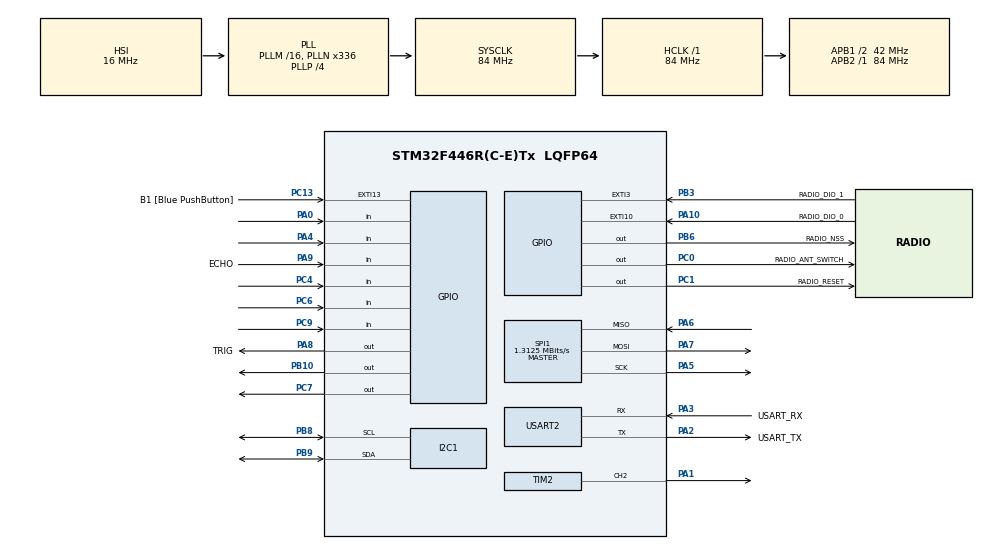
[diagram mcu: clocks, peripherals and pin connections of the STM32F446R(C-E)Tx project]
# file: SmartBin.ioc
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Mcu.Family=STM32F4
Mcu.Name=STM32F446R(C-E)Tx
Mcu.Package=LQFP64
NVIC.EXTI15_10_IRQn=true\:0\:0\:false\:false\:true\:true\:true\:true
NVIC.EXTI3_IRQn=true\:0\:0\:false\:false\:true\:true\:true\:true
NVIC.PriorityGroup=NVIC_PRIORITYGROUP_0
NVIC.TIM2_IRQn=true\:0\:0\:false\:false\:true\:true\:true\:true
NVIC.TIM3_IRQn=true\:0\:0\:false\:false\:true\:true\:true\:true
PA0-WKUP.GPIO_PuPd=GPIO_PULLUP
PA0-WKUP.Signal=GPIO_Input
PA1.Signal=S_TIM2_CH2
PA10.GPIO_Label=RADIO_DIO_0
PA10.Signal=GPXTI10
PA13.GPIO_Label=TMS
PA13.Mode=Serial_Wire
PA13.Signal=SYS_JTMS-SWDIO
PA14.GPIO_Label=TCK
PA14.Mode=Serial_Wire
PA14.Signal=SYS_JTCK-SWCLK
PA2.GPIO_Label=USART_TX
PA2.Mode=Asynchronous
PA2.Signal=USART2_TX
PA3.GPIO_Label=USART_RX
PA3.Mode=Asynchronous
PA3.Signal=USART2_RX
PA4.GPIO_PuPd=GPIO_PULLUP
PA4.Signal=GPIO_Input
PA5.Mode=Full_Duplex_Master
PA5.Signal=SPI1_SCK
PA6.Mode=Full_Duplex_Master
PA6.Signal=SPI1_MISO
PA7.Mode=Full_Duplex_Master
PA7.Signal=SPI1_MOSI
PA8.GPIO_Label=TRIG
PA8.GPIO_Speed=GPIO_SPEED_FREQ_HIGH
PA8.Signal=GPIO_Output
PA9.GPIO_Label=ECHO
PA9.GPIO_PuPd=GPIO_PULLDOWN
PA9.Signal=GPIO_Input
PB10.Signal=GPIO_Output
PB3.GPIO_Label=RADIO_DIO_1
PB3.Signal=GPXTI3
PB6.GPIO_Label=RADIO_NSS
PB6.GPIO_Speed=GPIO_SPEED_FREQ_HIGH
PB6.PinState=GPIO_PIN_SET
PB6.Signal=GPIO_Output
PB8.Mode=I2C
PB8.Signal=I2C1_SCL
PB9.Mode=I2C
PB9.Signal=I2C1_SDA
PC0.GPIO_Label=RADIO_ANT_SWITCH
PC0.GPIO_PuPd=GPIO_PULLUP
PC0.Signal=GPIO_Output
PC1.GPIO_Label=RADIO_RESET
PC1.PinState=GPIO_PIN_SET
PC1.Signal=GPIO_Output
PC13.GPIO_Label=B1 [Blue PushButton]
PC13.GPIO_ModeDefaultEXTI=GPIO_MODE_IT_FALLING
PC13.Signal=GPXTI13
PC14-OSC32_IN.Mode=LSE-External-Oscillator
PC14-OSC32_IN.Signal=RCC_OSC32_IN
PC15-OSC32_OUT.Mode=LSE-External-Oscillator
PC15-OSC32_OUT.Signal=RCC_OSC32_OUT
PC4.GPIO_PuPd=GPIO_PULLUP
PC4.Signal=GPIO_Input
PC6.GPIO_PuPd=GPIO_PULLUP
PC6.Signal=GPIO_Input
PC7.Signal=GPIO_Output
PC9.GPIO_PuPd=GPIO_PULLUP
PC9.Signal=GPIO_Input
PH0-OSC_IN.Mode=HSE-External-Oscillator
PH0-OSC_IN.Signal=RCC_OSC_IN
PH1-OSC_OUT.Mode=HSE-External-Oscillator
PH1-OSC_OUT.Signal=RCC_OSC_OUT
ProjectManager.HeapSize=0x200
ProjectManager.StackSize=0x400
ProjectManager.TargetToolchain=STM32CubeIDE
RCC.48MHZClocksFreq_Value=84000000
RCC.AHBFreq_Value=84000000
RCC.APB1CLKDivider=RCC_HCLK_DIV2
RCC.APB1Freq_Value=42000000
RCC.APB1TimFreq_Value=84000000
RCC.APB2Freq_Value=84000000
RCC.APB2TimFreq_Value=84000000
RCC.CortexFreq_Value=84000000
RCC.FLatency-AdvancedSettings=FLASH_LATENCY_2
RCC.HCLKFreq_Value=84000000
RCC.HSE_VALUE=8000000
RCC.HSI_VALUE=16000000
RCC.PLLN=336
RCC.PLLP=RCC_PLLP_DIV4
RCC.SYSCLKFreq_VALUE=84000000
RCC.SYSCLKSource=RCC_SYSCLKSOURCE_PLLCLK
RCC.USBFreq_Value=168000000
RCC.VCOOutputFreq_Value=336000000
SH.S_TIM2_CH2.0=TIM2_CH2,PWM Generation2 CH2
SPI1.BaudRatePrescaler=SPI_BAUDRATEPRESCALER_64
SPI1.CalculateBaudRate=1.3125 MBits/s
SPI1.Direction=SPI_DIRECTION_2LINES
SPI1.Mode=SPI_MODE_MASTER
SPI1.VirtualType=VM_MASTER
TIM2.Channel-PWM\ Generation2\ CH2=TIM_CHANNEL_2
TIM2.Period=199
TIM2.Prescaler=8399
TIM2.Pulse-PWM\ Generation2\ CH2=13
TIM3.Prescaler=50-1
USART2.VirtualMode=VM_ASYNC
VP_TIM2_VS_ClockSourceINT.Mode=Internal
VP_TIM3_VS_ClockSourceINT.Mode=Internal
board=NUCLEO-F446RE

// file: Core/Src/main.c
/* USER CODE BEGIN Header */
/**
 ******************************************************************************
 * @file           : main.c
 * @brief          : Main program body
 ******************************************************************************
 * @attention
 *
 * Copyright (c) 2025 STMicroelectronics.
 * All rights reserved.
 *
 * This software is licensed under terms that can be found in the LICENSE file
 * in the root directory of this software component.
 * If no LICENSE file comes with this software, it is provided AS-IS.
 *
 ******************************************************************************
 */
/* USER CODE END Header */
#include "main.h"

/* USER CODE BEGIN Includes */
#include "cup_system.h"
#include "hx711.h"
#include "ultra.h"
#include "vl53l0x_api.h"
#include "vl53l0x_wrapper.h"
#include <math.h>
#include <stdio.h>
#include <string.h>

#include "sx1272/radio.h"
#include "sx1272/sx1272-board.h"
#include "sx1272/sx1272.h"
#include "sx1272/timer.h"

#define RF_FREQUENCY 920000000 // Hz
#define TX_OUTPUT_POWER 14     // dBm
#define LORA_BANDWIDTH 0 // [0: 125 kHz, 1: 250 kHz, 2: 500 kHz, 3: Reserved]
#define LORA_SPREADING_FACTOR 7 // [SF7..SF12]
#define LORA_CODINGRATE 1       // [1: 4/5, 2: 4/6, 3: 4/7, 4: 4/8]
#define LORA_PREAMBLE_LENGTH 8  // Same for Tx and Rx
#define LORA_FIX_LENGTH_PAYLOAD_ON false
#define LORA_IQ_INVERSION_ON false

#define STABLE_THRESHOLD 10.0f     // 10g 이내면 안정
#define STABLE_COUNT 3             // 연속 안정 카운트
#define AVG_N 10                   // 이동평균 창 길이
#define LIVE_SEND_INTERVAL_MS 1000 // LIVE 데이터 전송 주기 (5초)
#define MAX_WEIGHT_CHANGE 30.0f
#define BIN_HEIGHT_OFFSET_CM 15.0f   // 초음파 센서 위치 보정값
#define RAW_N 5 // Sliding window size

typedef struct {
  HX711_t hx;                     // HX711 핸들
  float avg_buf[AVG_N];           // 이동평균 버퍼
  int avg_idx;                    // 버퍼 인덱스
  int avg_filled;                 // 버퍼 채워진 개수
  int is_stable;                  // 안정 상태 플래그
  float stable_weight;            // 안정화된 무게
  float prev_weight;              // 이전 무게
  int stable_cnt;                 // 안정 카운트
  char current_event_id[16];      // 현재 이벤트 ID
  uint32_t last_live_send_time;   // 마지막 LIVE 전송 시간
  const char *bin_type;           // "CUP" 또는 "WATER"
  volatile uint8_t isIRTriggered; // IR 센서 플래그

  uint8_t event_weight_sent;       // 이벤트 무게 전송 여부
  uint8_t stable_transition_count; // 불안정→안정 전환 횟수 (이벤트 중)

  // Delayed Send Fields
  uint32_t delayed_send_timestamp;
  uint8_t is_delayed_send_pending;
  char delayed_event_id[16];
} LoadCellContext_t;

/* USER CODE END Includes */

/* USER CODE BEGIN PM */
// 이동평균 버퍼
static float avg_buf[AVG_N];
static int avg_idx = 0;
static int avg_filled = 0;
// 시퀀스(줄 번호)로 수신/출력 구분
static uint32_t seq = 0;

static int is_stable = 0;
static float stable_weight = 0.0f;

// === 함수 선언 ===
static void avg_reset(void);

static float avg_push(float v);

static int is_saturated(int32_t raw);

/* USER CODE END PM */

I2C_HandleTypeDef hi2c1;

SPI_HandleTypeDef hspi1;

TIM_HandleTypeDef htim2;
TIM_HandleTypeDef htim3;

UART_HandleTypeDef huart2;

/* USER CODE BEGIN PV */
#define BIN_ID 1
static uint32_t event_id_counter = 0;
char current_event_id[16] = {0};
volatile uint8_t tare_requested = 0;

/* ---- LoRa 관련 ---- */
static RadioEvents_t RadioEvents;       // 콜백 구조체
static uint8_t LoRaTxBuffer[256];       // 보낼 버퍼(최대 255 byte 정도)
static volatile uint8_t LoRaTxDone = 0; // 전송 완료 플래그

VL53L0X_Dev_t vl53l0x_device;
VL53L0X_RangingMeasurementData_t RangingData;
VL53L0X_DeviceInfo_t DeviceInfo;
char msg[200];

char laser_buffer[12288];
uint32_t VhvSettings;
uint32_t PhaseCal;

#define SAMPLES_PER_EVENT 130 // 5초간 250회 측정
#define SAMPLE_INTERVAL_MS 20 // 20ms 간격
#define BIN_WIDTH_MM 470      // 쓰레기통 너비 490mm

typedef struct {
  uint16_t timeMsec;
  uint16_t distanceMm;
} SampleData;

#define Rx_ID 80
#define PHYMAC_PDUOFFSET_RXID 0 // packet 내부 아이디 offset

SampleData samples[SAMPLES_PER_EVENT];
// uint8_t isIRTriggered = 0;  // IR 센서 트리거 플래그

// loadcell(water+cup)
// 컵통 로드셀 (PB4, PB5)
LoadCellContext_t cup_loadcell = {0};
// 물통 로드셀 (PA4, PB10)
LoadCellContext_t water_loadcell = {0};
char json_buffer[256];
uint32_t last_ultra_send_time = 0; // 처음엔 LIVE 전송
uint8_t isIRTriggered = 0;
// loadcell debugging line index
uint8_t line_index = 0;
/* USER CODE END PV */

void SystemClock_Config(void);
static void MX_GPIO_Init(void);
static void MX_USART2_UART_Init(void);
static void MX_I2C1_Init(void);
static void MX_TIM2_Init(void);
static void MX_SPI1_Init(void);
static void MX_TIM3_Init(void);
/* USER CODE BEGIN PFP */
void SendLaserDataToServer(void);

// void SendLoadcellDataToServer(float weight, const char *uuid_type);
void generate_uuid(char *uuid_str);

void LoadCell_Init(LoadCellContext_t *ctx, GPIO_TypeDef *dout_port,
                   uint16_t dout_pin, GPIO_TypeDef *sck_port, uint16_t sck_pin,
                   float scale, const char *bin_type);

void LoadCell_ResetAvg(LoadCellContext_t *ctx);

float LoadCell_PushAvg(LoadCellContext_t *ctx, float value);

int LoadCell_IsSaturated(int32_t raw);

void LoadCell_Process(LoadCellContext_t *ctx);

void SendDataToServer(float weight, const char *uuid_type,
                      const char *bin_type);

void generate_uuid(char *uuid_str);

// static int first_stable_sent = 0;

/* ---- LoRa용 프로토타입 ---- */
void LoRa_Init(void);

void LoRa_Send(const char *msg);

static void OnTxDone(void);

static void OnTxTimeout(void);

void SendUltraOverLoRa(uint32_t d10, uint32_t f10, const char *uuid_opt);

static void avg_reset(void) {
  for (int i = 0; i < AVG_N; i++)
    avg_buf[i] = 0.0f;
  avg_idx = 0;
  avg_filled = 0;
}

static float avg_push(float v) {
  avg_buf[avg_idx] = v;
  avg_idx = (avg_idx + 1) % AVG_N;
  if (avg_filled < AVG_N)
    avg_filled++;

  float s = 0.0f;
  for (int i = 0; i < avg_filled; i++)
    s += avg_buf[i];
  return s / (float)avg_filled;
}

static int is_saturated(int32_t raw) {
  return (raw == 8388607 || raw == -8388608); // HX711 포화값
}

/* USER CODE END PFP */

/* USER CODE BEGIN 0 */
int _write(int file, char *ptr, int len) {
  HAL_UART_Transmit(&huart2, (uint8_t *)ptr, len, HAL_MAX_DELAY);
  return len;
}

/* USER CODE END 0 */

int main(void) {

  /* MCU Configuration--------------------------------------------------------*/

  /* Reset of all peripherals, Initializes the Flash interface and the Systick.
   */
  HAL_Init();

  /* Configure the system clock */
  SystemClock_Config();

  /* Initialize all configured peripherals */
  MX_GPIO_Init();
  MX_USART2_UART_Init();
  MX_I2C1_Init();
  MX_TIM2_Init();
  MX_SPI1_Init();
  MX_TIM3_Init();
  /* USER CODE BEGIN 2 */
  LoRa_Init(); // LoRa 드라이버 초기화
  //  CupSystem_Init();
  event_id_counter = 0;
  memset(current_event_id, 0, sizeof(current_event_id));

  // laser
  HAL_Delay(1000);

  VL53L0X_Error status = VL53L0X_DeviceInit(&vl53l0x_device, MODE_DEFAULT);

  if (status == VL53L0X_ERROR_NONE) {
    // 디바이스 정보 읽기
    status = VL53L0X_GetDeviceInfo(&vl53l0x_device, &DeviceInfo);
    if (status == VL53L0X_ERROR_NONE) {
      sprintf(msg, "Device: %s\r\n", DeviceInfo.Name);
      HAL_UART_Transmit(&huart2, (uint8_t *)msg, strlen(msg), 100);
    }
  } else {
    sprintf(msg, "VL53L0X Init Failed! Error: %d\r\n", status);
    HAL_UART_Transmit(&huart2, (uint8_t *)msg, strlen(msg), 100);
    // while(1);
  }

  HAL_Delay(500);

  // ultra
  Ultra_Init();
  // 1) 자동 보정으로 빈 상태 거리 측정
  float bin_height = Ultra_CalibrateHeight();
  bin_height -= BIN_HEIGHT_OFFSET_CM;
  if (bin_height <= 0.0f) {
    // 실패하면 기본값 40cm 사용
    bin_height = 40.0f;
    printf("Calibrate failed, use default 40.0 cm\r\n");
  } else {
    uint32_t h10 = (uint32_t)(bin_height * 10.0f + 0.5f); // 높이 x10, 반올림
    printf("Calibrated bin height: %lu.%lu cm\r\n", h10 / 10U, h10 % 10U);
  }

  // 컵통 로드셀 초기화 (PB4=DOUT, PB5=SCK)
  LoadCell_Init(&cup_loadcell, GPIOC, GPIO_PIN_4, // DOUT
                GPIOC, GPIO_PIN_7,                // SCK
                416.14f,                          // scale (조정된 값)
                "CUP");

  // 물통 로드셀 초기화 (PA4=DOUT, PB10=SCK)
  LoadCell_Init(&water_loadcell, GPIOA, GPIO_PIN_4, // DOUT
                GPIOB, GPIO_PIN_10,                 // SCK
                424.8f,                             // scale (조정된 값)
                "WATER");

  printf("=== Dual Load Cell System Started ===\r\n");
  printf("Cup Bin   - scale=%.2f, offset=%ld\r\n", cup_loadcell.hx.scale,
         (long)cup_loadcell.hx.offset);
  printf("Water Bin - scale=%.2f, offset=%ld\r\n", water_loadcell.hx.scale,
         (long)water_loadcell.hx.offset);

  HAL_Delay(500);

  HAL_TIM_PWM_Start(
      &htim2, TIM_CHANNEL_2); // sHAL_TIM_PWM_Start(&htim2, TIM_CHANNEL_2);

  /* USER CODE END 2 */

  /* Infinite loop */
  /* USER CODE BEGIN WHILE */

  while (1) {
    // === 버튼으로 영점 재조절 요청 들어왔을 때 처리 ===
    if (tare_requested) {
      tare_requested = 0;

      printf(">>> Tare requested by B1 button\r\n");

      // Cup LoadCell Tare
      HX711_Tare_Robust(&cup_loadcell.hx, 20);
      LoadCell_ResetAvg(&cup_loadcell);
      cup_loadcell.is_stable = 0;
      cup_loadcell.stable_cnt = 0;

      // Water LoadCell Tare
      HX711_Tare_Robust(&water_loadcell.hx, 20);
      LoadCell_ResetAvg(&water_loadcell);
      water_loadcell.is_stable = 0;
      water_loadcell.stable_cnt = 0;

      printf(">>> Tare done\r\n");
    }

    CupSystem_Update();

    // IR 이벤트가 발생한 경우에만 센서 + 모터 시퀀스를 실행
    if (isIRTriggered) {
      // 1. 레이저 센서
      for (int i = 0; i < SAMPLES_PER_EVENT; i++) {
        uint32_t startTime = HAL_GetTick();

        // 레이저 센서 측정
        status = VL53L0X_SingleMeasurement(&vl53l0x_device, &RangingData);

        if (status == VL53L0X_ERROR_NONE && RangingData.RangeStatus == 0) {
          samples[i].timeMsec = i * SAMPLE_INTERVAL_MS;
          samples[i].distanceMm = RangingData.RangeMilliMeter -
                                  20; // 실제 쓰레기통 시작 점 보정된 부분
        }

        // 50ms 간격 유지
        uint32_t elapsed = HAL_GetTick() - startTime;
        if (elapsed < SAMPLE_INTERVAL_MS) {
          HAL_Delay(SAMPLE_INTERVAL_MS - elapsed);
        }
      }

      // 측정 완료 후 서버로 데이터 전송
      SendLaserDataToServer();

      // 2. 서보 모터 동작
      __HAL_TIM_SET_COMPARE(&htim2, TIM_CHANNEL_2, 5);
      HAL_Delay(3000);

      __HAL_TIM_SET_COMPARE(&htim2, TIM_CHANNEL_2, 25);
      HAL_Delay(3000);

      __HAL_TIM_SET_COMPARE(&htim2, TIM_CHANNEL_2, 13);
      HAL_Delay(3000);

      // 3. 초음파 센서: 채워진 정도 측정 (이벤트 기준)
      uint32_t now_ultra = HAL_GetTick(); // 현재 시간 읽기
      if (now_ultra - last_ultra_send_time >= LIVE_SEND_INTERVAL_MS) {
        // 5초 경과
        last_ultra_send_time = now_ultra;

        float dist = Ultra_GetDistance_CM();

        if (dist > 0.0f && bin_height > 0.0f) {
          // 추가
          dist -= BIN_HEIGHT_OFFSET_CM;
          if (dist < 0.0f) dist = 0.0f;

          float fill = (1.0f - (dist / bin_height)) * 100.0f;
          if (fill < 0.0f)
            fill = 0.0f;
          if (fill > 100.0f)
            fill = 100.0f;

          uint32_t d10 = (uint32_t)(dist * 10.0f + 0.5f);
          uint32_t f10 = (uint32_t)(fill * 10.0f + 0.5f);

          // 빔 쏘기는 둘 중 JSON 만들고 UART+LoRa 둘 다 전송
          if (isIRTriggered && current_event_id[0] != '\0') {
            // 이벤트 중 (id 포함)
            SendUltraOverLoRa(d10, f10, current_event_id);
          } else {
            // 평상시 LIVE
            SendUltraOverLoRa(d10, f10, NULL);
          }
        } else {
          printf("Timeout\r\n");
        }
      }

      // 4. 로드셀(HX711): 물/컵 무게 측정 (IR 이벤트가 있을 때에만 동작)
      // 단순 HAL_Delay(40000) 대신, 40초 동안 LoadCell_Process를 계속
      // 돌려줌으로써 이동평균 필터(avg_buf)가 최신 값으로 채워지도록 함.

      strncpy(cup_loadcell.current_event_id, current_event_id,
              sizeof(cup_loadcell.current_event_id) - 1);
      cup_loadcell.current_event_id[sizeof(cup_loadcell.current_event_id) - 1] =
          '\0';

      strncpy(water_loadcell.current_event_id, current_event_id,
              sizeof(water_loadcell.current_event_id) - 1);
      water_loadcell
          .current_event_id[sizeof(water_loadcell.current_event_id) - 1] = '\0';

      // 이벤트 ID를 설정한 후 즉시 전송되도록 last_live_send_time을 초기화
      cup_loadcell.last_live_send_time = 0;
      water_loadcell.last_live_send_time = 0;

      // 이벤트 무게 전송 플래그 초기화
      cup_loadcell.event_weight_sent = 0;
      water_loadcell.event_weight_sent = 0;

      // 안정화 전환 카운터 초기화 (첫 번째 안정화는 충격, 두 번째부터 유효)
      cup_loadcell.stable_transition_count = 0;
      water_loadcell.stable_transition_count = 0;

      uint32_t wait_start = HAL_GetTick();
      while (HAL_GetTick() - wait_start < 40000) {
        LoadCell_Process(&cup_loadcell);
        LoadCell_Process(&water_loadcell);
      }

      // [Fallback] 10초 내에 안정화되지 않아 전송되지 않았다면, 마지막 안정값
      // 전송
      if (!cup_loadcell.event_weight_sent) {
        float send_weight = (cup_loadcell.stable_weight > 0.0f)
                                ? cup_loadcell.stable_weight
                                : 0.0f;
        SendDataToServer(send_weight, cup_loadcell.current_event_id,
                         cup_loadcell.bin_type);
        printf(">>> [TIMEOUT] Unstable Cup, sent last stable %.2f g\r\n",
               send_weight);
      }

      if (!water_loadcell.event_weight_sent) {
        float send_weight = (water_loadcell.stable_weight > 0.0f)
                                ? water_loadcell.stable_weight
                                : 0.0f;
        SendDataToServer(send_weight, water_loadcell.current_event_id,
                         water_loadcell.bin_type);
        printf(">>> [TIMEOUT] Unstable Water, sent last stable %.2f g\r\n",
               send_weight);
      }

      // IR 이벤트 처리 완료: 플래그 리셋
      isIRTriggered = 0;
    }

    memset(cup_loadcell.current_event_id, 0,
           sizeof(cup_loadcell.current_event_id));
    memset(water_loadcell.current_event_id, 0,
           sizeof(water_loadcell.current_event_id));
    LoadCell_Process(&cup_loadcell);
    LoadCell_Process(&water_loadcell);

    HAL_Delay(50);

    uint32_t now_ultra = HAL_GetTick(); // 현재 시간 읽기
    if (now_ultra - last_ultra_send_time >= LIVE_SEND_INTERVAL_MS) {
      // 5초 경과
      last_ultra_send_time = now_ultra;

      // 1) 거리 측정
      float dist = Ultra_GetDistance_CM();

      if (dist > 0.0f && bin_height > 0.0f) {
    	// 추가
    	dist -= BIN_HEIGHT_OFFSET_CM;
    	if (dist < 0.0f) dist = 0.0f;

        // 2) 채워짐 계산
        float fill = (1.0f - (dist / bin_height)) * 100.0f;

        if (fill < 0.0f)
          fill = 0.0f;
        if (fill > 100.0f)
          fill = 100.0f;

        // 3) 부동소수점 대신 x10 정수로 변환해서 출력
        uint32_t d10 = (uint32_t)(dist * 10.0f + 0.5f);
        uint32_t f10 = (uint32_t)(fill * 10.0f + 0.5f);

        SendUltraOverLoRa(d10, f10, NULL);
      } else {
        // 거리 측정 실패 시 (필요하면 JSON으로 에러가 전송되도록 바꿀 수 있음)
        printf("Timeout\r\n");
      }
    }
  }

  /* USER CODE END WHILE */

}
void SystemClock_Config(void) {
  RCC_OscInitTypeDef RCC_OscInitStruct = {0};
  RCC_ClkInitTypeDef RCC_ClkInitStruct = {0};

  /** Configure the main internal regulator output voltage
   */
  __HAL_RCC_PWR_CLK_ENABLE();
  __HAL_PWR_VOLTAGESCALING_CONFIG(PWR_REGULATOR_VOLTAGE_SCALE3);

  /** Initializes the RCC Oscillators according to the specified parameters
   * in the RCC_OscInitTypeDef structure.
   */
  RCC_OscInitStruct.OscillatorType = RCC_OSCILLATORTYPE_HSI;
  RCC_OscInitStruct.HSIState = RCC_HSI_ON;
  RCC_OscInitStruct.HSICalibrationValue = RCC_HSICALIBRATION_DEFAULT;
  RCC_OscInitStruct.PLL.PLLState = RCC_PLL_ON;
  RCC_OscInitStruct.PLL.PLLSource = RCC_PLLSOURCE_HSI;
  RCC_OscInitStruct.PLL.PLLM = 16;
  RCC_OscInitStruct.PLL.PLLN = 336;
  RCC_OscInitStruct.PLL.PLLP = RCC_PLLP_DIV4;
  RCC_OscInitStruct.PLL.PLLQ = 2;
  RCC_OscInitStruct.PLL.PLLR = 2;
  if (HAL_RCC_OscConfig(&RCC_OscInitStruct) != HAL_OK) {
    Error_Handler();
  }

  /** Initializes the CPU, AHB and APB buses clocks
   */
  RCC_ClkInitStruct.ClockType = RCC_CLOCKTYPE_HCLK | RCC_CLOCKTYPE_SYSCLK |
                                RCC_CLOCKTYPE_PCLK1 | RCC_CLOCKTYPE_PCLK2;
  RCC_ClkInitStruct.SYSCLKSource = RCC_SYSCLKSOURCE_PLLCLK;
  RCC_ClkInitStruct.AHBCLKDivider = RCC_SYSCLK_DIV1;
  RCC_ClkInitStruct.APB1CLKDivider = RCC_HCLK_DIV2;
  RCC_ClkInitStruct.APB2CLKDivider = RCC_HCLK_DIV1;

  if (HAL_RCC_ClockConfig(&RCC_ClkInitStruct, FLASH_LATENCY_2) != HAL_OK) {
    Error_Handler();
  }
}

static void MX_I2C1_Init(void) {

  hi2c1.Instance = I2C1;
  hi2c1.Init.ClockSpeed = 100000;
  hi2c1.Init.DutyCycle = I2C_DUTYCYCLE_2;
  hi2c1.Init.OwnAddress1 = 0;
  hi2c1.Init.AddressingMode = I2C_ADDRESSINGMODE_7BIT;
  hi2c1.Init.DualAddressMode = I2C_DUALADDRESS_DISABLE;
  hi2c1.Init.OwnAddress2 = 0;
  hi2c1.Init.GeneralCallMode = I2C_GENERALCALL_DISABLE;
  hi2c1.Init.NoStretchMode = I2C_NOSTRETCH_DISABLE;
  if (HAL_I2C_Init(&hi2c1) != HAL_OK) {
    Error_Handler();
  }
}

static void MX_SPI1_Init(void) {

  /* SPI1 parameter configuration*/
  hspi1.Instance = SPI1;
  hspi1.Init.Mode = SPI_MODE_MASTER;
  hspi1.Init.Direction = SPI_DIRECTION_2LINES;
  hspi1.Init.DataSize = SPI_DATASIZE_8BIT;
  hspi1.Init.CLKPolarity = SPI_POLARITY_LOW;
  hspi1.Init.CLKPhase = SPI_PHASE_1EDGE;
  hspi1.Init.NSS = SPI_NSS_SOFT;
  hspi1.Init.BaudRatePrescaler = SPI_BAUDRATEPRESCALER_64;
  hspi1.Init.FirstBit = SPI_FIRSTBIT_MSB;
  hspi1.Init.TIMode = SPI_TIMODE_DISABLE;
  hspi1.Init.CRCCalculation = SPI_CRCCALCULATION_DISABLE;
  hspi1.Init.CRCPolynomial = 10;
  if (HAL_SPI_Init(&hspi1) != HAL_OK) {
    Error_Handler();
  }
}

static void MX_TIM2_Init(void) {

  TIM_ClockConfigTypeDef sClockSourceConfig = {0};
  TIM_MasterConfigTypeDef sMasterConfig = {0};
  TIM_OC_InitTypeDef sConfigOC = {0};

  htim2.Instance = TIM2;
  htim2.Init.Prescaler = 8399;
  htim2.Init.CounterMode = TIM_COUNTERMODE_UP;
  htim2.Init.Period = 199;
  htim2.Init.ClockDivision = TIM_CLOCKDIVISION_DIV1;
  htim2.Init.AutoReloadPreload = TIM_AUTORELOAD_PRELOAD_DISABLE;
  if (HAL_TIM_Base_Init(&htim2) != HAL_OK) {
    Error_Handler();
  }
  sClockSourceConfig.ClockSource = TIM_CLOCKSOURCE_INTERNAL;
  if (HAL_TIM_ConfigClockSource(&htim2, &sClockSourceConfig) != HAL_OK) {
    Error_Handler();
  }
  if (HAL_TIM_PWM_Init(&htim2) != HAL_OK) {
    Error_Handler();
  }
  sMasterConfig.MasterOutputTrigger = TIM_TRGO_RESET;
  sMasterConfig.MasterSlaveMode = TIM_MASTERSLAVEMODE_DISABLE;
  if (HAL_TIMEx_MasterConfigSynchronization(&htim2, &sMasterConfig) != HAL_OK) {
    Error_Handler();
  }
  sConfigOC.OCMode = TIM_OCMODE_PWM1;
  sConfigOC.Pulse = 13;
  sConfigOC.OCPolarity = TIM_OCPOLARITY_HIGH;
  sConfigOC.OCFastMode = TIM_OCFAST_DISABLE;
  if (HAL_TIM_PWM_ConfigChannel(&htim2, &sConfigOC, TIM_CHANNEL_2) != HAL_OK) {
    Error_Handler();
  }
  HAL_TIM_MspPostInit(&htim2);
}

static void MX_TIM3_Init(void) {

  TIM_ClockConfigTypeDef sClockSourceConfig = {0};
  TIM_MasterConfigTypeDef sMasterConfig = {0};

  htim3.Instance = TIM3;
  htim3.Init.Prescaler = 50 - 1;
  htim3.Init.CounterMode = TIM_COUNTERMODE_UP;
  htim3.Init.Period = 65535;
  htim3.Init.ClockDivision = TIM_CLOCKDIVISION_DIV1;
  htim3.Init.AutoReloadPreload = TIM_AUTORELOAD_PRELOAD_DISABLE;
  if (HAL_TIM_Base_Init(&htim3) != HAL_OK) {
    Error_Handler();
  }
  sClockSourceConfig.ClockSource = TIM_CLOCKSOURCE_INTERNAL;
  if (HAL_TIM_ConfigClockSource(&htim3, &sClockSourceConfig) != HAL_OK) {
    Error_Handler();
  }
  sMasterConfig.MasterOutputTrigger = TIM_TRGO_RESET;
  sMasterConfig.MasterSlaveMode = TIM_MASTERSLAVEMODE_DISABLE;
  if (HAL_TIMEx_MasterConfigSynchronization(&htim3, &sMasterConfig) != HAL_OK) {
    Error_Handler();
  }
}

static void MX_USART2_UART_Init(void) {

  huart2.Instance = USART2;
  huart2.Init.BaudRate = 115200;
  huart2.Init.WordLength = UART_WORDLENGTH_8B;
  huart2.Init.StopBits = UART_STOPBITS_1;
  huart2.Init.Parity = UART_PARITY_NONE;
  huart2.Init.Mode = UART_MODE_TX_RX;
  huart2.Init.HwFlowCtl = UART_HWCONTROL_NONE;
  huart2.Init.OverSampling = UART_OVERSAMPLING_16;
  if (HAL_UART_Init(&huart2) != HAL_OK) {
    Error_Handler();
  }
}

static void MX_GPIO_Init(void) {
  GPIO_InitTypeDef GPIO_InitStruct = {0};

  /* GPIO Ports Clock Enable */
  __HAL_RCC_GPIOC_CLK_ENABLE();
  __HAL_RCC_GPIOH_CLK_ENABLE();
  __HAL_RCC_GPIOA_CLK_ENABLE();
  __HAL_RCC_GPIOB_CLK_ENABLE();

  /*Configure GPIO pin Output Level */
  HAL_GPIO_WritePin(GPIOC, RADIO_ANT_SWITCH_Pin | GPIO_PIN_7, GPIO_PIN_RESET);

  /*Configure GPIO pin Output Level */
  HAL_GPIO_WritePin(RADIO_RESET_GPIO_Port, RADIO_RESET_Pin, GPIO_PIN_SET);

  /*Configure GPIO pin Output Level */
  HAL_GPIO_WritePin(GPIOB, GPIO_PIN_10, GPIO_PIN_RESET);

  /*Configure GPIO pin Output Level */
  HAL_GPIO_WritePin(TRIG_GPIO_Port, TRIG_Pin, GPIO_PIN_RESET);

  /*Configure GPIO pin Output Level */
  HAL_GPIO_WritePin(RADIO_NSS_GPIO_Port, RADIO_NSS_Pin, GPIO_PIN_SET);

  /*Configure GPIO pin : B1_Pin */
  GPIO_InitStruct.Pin = B1_Pin;
  GPIO_InitStruct.Mode = GPIO_MODE_IT_FALLING;
  GPIO_InitStruct.Pull = GPIO_NOPULL;
  HAL_GPIO_Init(B1_GPIO_Port, &GPIO_InitStruct);

  /*Configure GPIO pin : RADIO_ANT_SWITCH_Pin */
  GPIO_InitStruct.Pin = RADIO_ANT_SWITCH_Pin;
  GPIO_InitStruct.Mode = GPIO_MODE_OUTPUT_PP;
  GPIO_InitStruct.Pull = GPIO_PULLUP;
  GPIO_InitStruct.Speed = GPIO_SPEED_FREQ_LOW;
  HAL_GPIO_Init(RADIO_ANT_SWITCH_GPIO_Port, &GPIO_InitStruct);

  /*Configure GPIO pins : RADIO_RESET_Pin PC7 */
  GPIO_InitStruct.Pin = RADIO_RESET_Pin | GPIO_PIN_7;
  GPIO_InitStruct.Mode = GPIO_MODE_OUTPUT_PP;
  GPIO_InitStruct.Pull = GPIO_NOPULL;
  GPIO_InitStruct.Speed = GPIO_SPEED_FREQ_LOW;
  HAL_GPIO_Init(GPIOC, &GPIO_InitStruct);

  /*Configure GPIO pins : PA0 PA4 */
  GPIO_InitStruct.Pin = GPIO_PIN_0 | GPIO_PIN_4;
  GPIO_InitStruct.Mode = GPIO_MODE_INPUT;
  GPIO_InitStruct.Pull = GPIO_PULLUP;
  HAL_GPIO_Init(GPIOA, &GPIO_InitStruct);

  /*Configure GPIO pins : PC4 PC6 PC9 */
  GPIO_InitStruct.Pin = GPIO_PIN_4 | GPIO_PIN_6 | GPIO_PIN_9;
  GPIO_InitStruct.Mode = GPIO_MODE_INPUT;
  GPIO_InitStruct.Pull = GPIO_PULLUP;
  HAL_GPIO_Init(GPIOC, &GPIO_InitStruct);

  /*Configure GPIO pin : PB10 */
  GPIO_InitStruct.Pin = GPIO_PIN_10;
  GPIO_InitStruct.Mode = GPIO_MODE_OUTPUT_PP;
  GPIO_InitStruct.Pull = GPIO_NOPULL;
  GPIO_InitStruct.Speed = GPIO_SPEED_FREQ_LOW;
  HAL_GPIO_Init(GPIOB, &GPIO_InitStruct);

  /*Configure GPIO pin : TRIG_Pin */
  GPIO_InitStruct.Pin = TRIG_Pin;
  GPIO_InitStruct.Mode = GPIO_MODE_OUTPUT_PP;
  GPIO_InitStruct.Pull = GPIO_NOPULL;
  GPIO_InitStruct.Speed = GPIO_SPEED_FREQ_HIGH;
  HAL_GPIO_Init(TRIG_GPIO_Port, &GPIO_InitStruct);

  /*Configure GPIO pin : ECHO_Pin */
  GPIO_InitStruct.Pin = ECHO_Pin;
  GPIO_InitStruct.Mode = GPIO_MODE_INPUT;
  GPIO_InitStruct.Pull = GPIO_PULLDOWN;
  HAL_GPIO_Init(ECHO_GPIO_Port, &GPIO_InitStruct);

  /*Configure GPIO pin : RADIO_DIO_0_Pin */
  GPIO_InitStruct.Pin = RADIO_DIO_0_Pin;
  GPIO_InitStruct.Mode = GPIO_MODE_IT_RISING;
  GPIO_InitStruct.Pull = GPIO_NOPULL;
  HAL_GPIO_Init(RADIO_DIO_0_GPIO_Port, &GPIO_InitStruct);

  /*Configure GPIO pin : RADIO_DIO_1_Pin */
  GPIO_InitStruct.Pin = RADIO_DIO_1_Pin;
  GPIO_InitStruct.Mode = GPIO_MODE_IT_RISING;
  GPIO_InitStruct.Pull = GPIO_NOPULL;
  HAL_GPIO_Init(RADIO_DIO_1_GPIO_Port, &GPIO_InitStruct);

  /*Configure GPIO pin : RADIO_NSS_Pin */
  GPIO_InitStruct.Pin = RADIO_NSS_Pin;
  GPIO_InitStruct.Mode = GPIO_MODE_OUTPUT_PP;
  GPIO_InitStruct.Pull = GPIO_NOPULL;
  GPIO_InitStruct.Speed = GPIO_SPEED_FREQ_HIGH;
  HAL_GPIO_Init(RADIO_NSS_GPIO_Port, &GPIO_InitStruct);

  /* EXTI interrupt init*/
  HAL_NVIC_SetPriority(EXTI3_IRQn, 0, 0);
  HAL_NVIC_EnableIRQ(EXTI3_IRQn);

  HAL_NVIC_SetPriority(EXTI15_10_IRQn, 0, 0);
  HAL_NVIC_EnableIRQ(EXTI15_10_IRQn);

}

/* USER CODE BEGIN 4 */
/* ---- LoRa 초기화 ---- */
void LoRa_Init(void) {
  // 콜백 등록
  RadioEvents.TxDone = OnTxDone;
  RadioEvents.TxTimeout = OnTxTimeout;

  // 드라이버 초기화
  Radio.Init(&RadioEvents);

  // 주파수/모뎀 설정 (lecture7 main.c 와 똑같이)
  Radio.SetChannel(
      RF_FREQUENCY); // RF_FREQUENCY 매크로는 sx1272 쪽 헤더에 정의되어 있음

  Radio.SetTxConfig(MODEM_LORA,
                    TX_OUTPUT_POWER, // 출력 파워 (매크로 그대로)
                    0,               // fdev (FSK일 때, LoRa에서는 0)
                    LORA_BANDWIDTH, LORA_SPREADING_FACTOR, LORA_CODINGRATE,
                    LORA_PREAMBLE_LENGTH, LORA_FIX_LENGTH_PAYLOAD_ON,
                    true, // CRC On
                    0,    // freqHopOn
                    0,    // hopPeriod
                    LORA_IQ_INVERSION_ON,
                    3000 // timeout(ms)
  );
}

/* ---- 문자열 하나를 LoRa 로 송신 ---- */
void LoRa_Send(const char *msg) {
  uint16_t size = (uint16_t)strlen(msg);
  if (size > sizeof(LoRaTxBuffer) - 1)
    size = sizeof(LoRaTxBuffer) - 1;

  printf("[LoRa Send] (%d bytes) %s\r\n", size, msg); // 크기 포함

  LoRaTxBuffer[PHYMAC_PDUOFFSET_RXID] = Rx_ID;

  memcpy(LoRaTxBuffer + 1, msg, size);

  // 전송 시작
  LoRaTxDone = 0;
  Radio.Send(LoRaTxBuffer, size + 1);

  // 전송 완료 대기 (최대 5초)
  uint32_t start_time = HAL_GetTick();
  while (!LoRaTxDone && (HAL_GetTick() - start_time < 3500)) {
    HAL_Delay(10);
  }

  if (!LoRaTxDone) {
    printf("[LoRa] TX TIMEOUT! (%d bytes)\r\n", size);
  }

  // Rx가 수신 모드로 전환할 시간 확보
  HAL_Delay(150);
}

/* ---- 콜백 함수들 ---- */
static void OnTxDone(void) {
  // 송신 끝나면 슬립 + 디버그 출력 정도만
  Radio.Sleep();
  LoRaTxDone = 1; // 전송 완료 플래그 설정
  printf("[LoRa] TxDone\r\n");
}

static void OnTxTimeout(void) {
  Radio.Sleep();
  printf("[LoRa] TxTimeout\r\n");
}

void generate_event_id(char *id_str) {
  // 4자리 Base36 ID 생성 (0000 ~ ZZZZ)
  // 표현 가능 개수: 36^4 = 1,679,616
  //  uint32_t id = ++event_id_counter; // 1부터 시작
  //  if (event_id_counter >= 1679616) {
  //    event_id_counter = 0; // 다음 호출 시 1이 되도록 0으로 리셋
  //  }

  srand(HAL_GetTick());

  uint32_t id = rand() % 1679616;

  const char charset[] = "0123456789ABCDEFGHIJKLMNOPQRSTUVWXYZ";

  // 뒤에서부터 채우기
  id_str[3] = charset[id % 36];
  id /= 36;
  id_str[2] = charset[id % 36];
  id /= 36;
  id_str[1] = charset[id % 36];
  id /= 36;
  id_str[0] = charset[id % 36];

  id_str[4] = '\0';
}

void SendLaserDataToServer(void) {
  // Chunk size 축소: 5 samples -> 약 50 bytes 패킷
#define CHUNK_SIZE 5

  for (int start_idx = 0; start_idx < SAMPLES_PER_EVENT;
       start_idx += CHUNK_SIZE) {
    int offset = 0;

    // Start JSON object
    // Format: {"id":"1234","idx":0,"data":[...]}
    offset += snprintf(laser_buffer + offset, sizeof(laser_buffer) - offset,
                       "{\"id\":\"%s\",\"idx\":%d,\"data\":[", current_event_id,
                       start_idx);

    // Append data points
    for (int i = 0; i < CHUNK_SIZE; i++) {
      int current_idx = start_idx + i;
      if (current_idx >= SAMPLES_PER_EVENT)
        break;

      offset += snprintf(laser_buffer + offset, sizeof(laser_buffer) - offset,
                         "%d", samples[current_idx].distanceMm);

      // Add comma if not the last item in this chunk and not the last item
      // overall
      if (i < CHUNK_SIZE - 1 && current_idx < SAMPLES_PER_EVENT - 1) {
        offset +=
            snprintf(laser_buffer + offset, sizeof(laser_buffer) - offset, ",");
      }
    }

    // Close JSON object
    offset += snprintf(laser_buffer + offset, sizeof(laser_buffer) - offset,
                       "]}\r\n");

    // Send chunk over LoRa
    LoRa_Send(laser_buffer);

    // 추가 대기 시간 (LoRa_Send의 150ms + 10ms)
    HAL_Delay(100);
  }
}

void SendDataToServer(float weight, const char *id_type, const char *bin_type) {
  int len = snprintf(json_buffer, sizeof(json_buffer),
                     "{\"weight\":%.2f,\"id\":\"%s\",\"type\":\"%s\"}\r\n",
                     weight, id_type, bin_type);

  // 센서 데이터 페이로드는 LoRa로만 전송
  LoRa_Send(json_buffer);
}

void SendUltraOverLoRa(uint32_t d10, uint32_t f10, const char *id_opt) {
  char buf[128];

  if (id_opt && id_opt[0] != '\0') {
    int len =
        snprintf(buf, sizeof(buf),
                 "{\"binId\":%d,\"id\":\"%s\","
                 "\"distanceCm\":%lu.%lu,\"fillRate\":%lu.%lu}\r\n",
                 BIN_ID, id_opt, d10 / 10U, d10 % 10U, f10 / 10U, f10 % 10U);

    // LoRa로만 전송
    LoRa_Send(buf);
  } else {
    int len = snprintf(buf, sizeof(buf),
                       "{\"binId\":%d,"
                       "\"distanceCm\":%lu.%lu,\"fillRate\":%lu.%lu}\r\n",
                       BIN_ID, d10 / 10U, d10 % 10U, f10 / 10U, f10 % 10U);

    // LoRa로만 전송
    LoRa_Send(buf);
  }
}

// B1 interrupt(로드셀 영점 다시 잡기)는 sx1272.c에서 처리
/*
void HAL_GPIO_EXTI_Callback(uint16_t GPIO_Pin)
{
    // 1) LoRa DIO 핀 등 sx1272 드라이버로 인터럽트 전달
    if (GPIO_Pin == RADIO_DIO_0_Pin || GPIO_Pin == RADIO_DIO_1_Pin)
    {
        Radio.IrqProcess();   // Lecture7 TX/RX 예제에서도 썼던 함수
    }

    // 2) B1 버튼 처리 (IR 트리거 -> Tare 요청으로 변경)
    if (GPIO_Pin == B1_Pin)
    {
        // printf("B1 pin\r\n"); // 인터럽트 내 printf 지양
        static uint32_t last_press_time = 0;
        uint32_t current_time = HAL_GetTick();

        if (current_time - last_press_time > 300)
        {
            tare_requested = 1; // 메인 루프에서 처리하도록 플래그 설정
            last_press_time = current_time;
        }
    }
}
*/

/**
 * @brief 로드셀 초기화
 */
void LoadCell_Init(LoadCellContext_t *ctx, GPIO_TypeDef *dout_port,
                   uint16_t dout_pin, GPIO_TypeDef *sck_port, uint16_t sck_pin,
                   float scale, const char *bin_type) {
  // HX711 초기화
  HX711_Init(&ctx->hx, dout_port, dout_pin, sck_port, sck_pin, HX711_GAIN_128);

  printf(">>> Initializing %s load cell...\r\n", bin_type);

  // 센서 워밍업 - 여러 번 읽기
  for (int i = 0; i < 10; i++) {
    HX711_ReadRaw(&ctx->hx);
    HAL_Delay(100);
  }

  // 영점 잡기 - 3회 시도하여 가장 안정적인 값 선택
  int32_t best_offset = 0;
  printf(">>> Tare attempt 1/3...\r\n");
  HAL_Delay(2000); // 2초 대기
  best_offset = HX711_Tare_Robust(&ctx->hx, 20);

  printf(">>> Tare attempt 2/3...\r\n");
  HAL_Delay(2000); // 2초 대기
  int32_t offset2 = HX711_Tare_Robust(&ctx->hx, 20);

  printf(">>> Tare attempt 3/3...\r\n");
  HAL_Delay(2000); // 2초 대기
  int32_t offset3 = HX711_Tare_Robust(&ctx->hx, 20);

  // 3개 중 중간값 선택 (노이즈 제거)
  int32_t offsets[3] = {best_offset, offset2, offset3};
  // 간단한 정렬
  for (int i = 0; i < 2; i++) {
    for (int j = 0; j < 2 - i; j++) {
      if (offsets[j] > offsets[j + 1]) {
        int32_t temp = offsets[j];
        offsets[j] = offsets[j + 1];
        offsets[j + 1] = temp;
      }
    }
  }
  ctx->hx.offset = offsets[1]; // 중간값 사용
  ctx->hx.scale = scale;

  printf(">>> %s Tare complete: offset=%ld (tried: %ld, %ld, %ld)\r\n",
         bin_type, (long)ctx->hx.offset, (long)best_offset, (long)offset2,
         (long)offset3);

  // 컨텍스트 초기화
  LoadCell_ResetAvg(ctx);
  ctx->is_stable = 0;
  ctx->stable_weight = 0.0f;
  ctx->prev_weight = 0.0f;
  ctx->stable_cnt = 0;
  ctx->bin_type = bin_type;
  ctx->isIRTriggered = 0;
  ctx->last_live_send_time = HAL_GetTick();
  ctx->last_live_send_time = HAL_GetTick();
  memset(ctx->current_event_id, 0, sizeof(ctx->current_event_id));

  ctx->event_weight_sent = 0;
  ctx->stable_transition_count = 0;

  ctx->is_delayed_send_pending = 0;
  ctx->delayed_send_timestamp = 0;
  memset(ctx->delayed_event_id, 0, sizeof(ctx->delayed_event_id));
}

/**
 * @brief 이동평균 버퍼 리셋
 */
void LoadCell_ResetAvg(LoadCellContext_t *ctx) {
  for (int i = 0; i < AVG_N; i++) {
    ctx->avg_buf[i] = 0.0f;
  }
  ctx->avg_idx = 0;
  ctx->avg_filled = 0;
}

/**
 * @brief 이동평균 계산
 */
float LoadCell_PushAvg(LoadCellContext_t *ctx, float value) {
  ctx->avg_buf[ctx->avg_idx] = value;
  ctx->avg_idx = (ctx->avg_idx + 1) % AVG_N;
  if (ctx->avg_filled < AVG_N)
    ctx->avg_filled++;

  float sum = 0.0f;
  for (int i = 0; i < ctx->avg_filled; i++) {
    sum += ctx->avg_buf[i];
  }
  return sum / (float)ctx->avg_filled;
}

/**
 * @brief HX711 포화 체크
 */
int LoadCell_IsSaturated(int32_t raw) {
  return (raw == 8388607 || raw == -8388608);
}

/**
 * @brief 로드셀 데이터 처리 (메인 로직)
 */
void LoadCell_Process(LoadCellContext_t *ctx) {
  // [CHECK DELAYED SEND]
  if (ctx->is_delayed_send_pending) {
    if (HAL_GetTick() >= ctx->delayed_send_timestamp) {
      // 시간 도달 -> 현재 시점의 안정화된 무게를 전송
      float send_weight =
          (ctx->stable_weight > 0.0f) ? ctx->stable_weight : 0.0f;
      SendDataToServer(send_weight, ctx->delayed_event_id, ctx->bin_type);
      printf(">>> [DELAYED SENT] Sent %.2f g (ID: %s)\r\n", send_weight,
             ctx->delayed_event_id);

      // 플래그 해제
      ctx->is_delayed_send_pending = 0;
    }
  }

  // 1. Raw 값 읽기 (Burst Sampling: 9회 연속 읽기)
  int32_t raw_samples[9];
  for (int i = 0; i < 9; i++) {
    raw_samples[i] = HX711_ReadRaw(&ctx->hx);
  }

  // 2. 정렬 (버블 정렬)
  for (int i = 0; i < 8; i++) {
    for (int j = 0; j < 8 - i; j++) {
      if (raw_samples[j] > raw_samples[j + 1]) {
        int32_t temp = raw_samples[j];
        raw_samples[j] = raw_samples[j + 1];
        raw_samples[j + 1] = temp;
      }
    }
  }
  int32_t raw = raw_samples[4]; // 중앙값 사용 (9개 중 5번째)

  // 3. 포화 체크
  if (LoadCell_IsSaturated(raw)) {
    return; // 포화 시 무시
  }

  // 3. 무게 계산 (순간값)
  int32_t net = raw - ctx->hx.offset;
  float w = (ctx->hx.scale == 0.0f) ? 0.0f : (float)net / ctx->hx.scale;

  // [추가] 이상치 필터링: 물리적으로 불가능한 값은 이동평균에 넣지 않고
  // 무시
  if (w < -100.0f || w > 10000.0f) {
    return;
  }

  // 4. 이동평균 (유효한 값만 버퍼에 추가)
  float w_filt = LoadCell_PushAvg(ctx, w);

  // 5. 안정 판정
  if (fabsf(w_filt - ctx->prev_weight) < STABLE_THRESHOLD) {
    ctx->stable_cnt++;
  } else {
    ctx->stable_cnt = 0;
  }
  ctx->prev_weight = w_filt;

  // 일정 시간 안정되면 stable_weight 업데이트
  if (ctx->stable_cnt >= STABLE_COUNT) {
    // [변경] 안정화 "시점"에 즉시 전송 (Rising Edge)
    if (!ctx->is_stable) {
      ctx->is_stable = 1;
      ctx->stable_weight = w_filt;

      // 이벤트 중이면 전환 카운트 증가
      if (ctx->current_event_id[0] != '\0') {
        ctx->stable_transition_count++;
        printf(">>> [STABLE TRANSITION #%d] %s: %.2f g\r\n",
               ctx->stable_transition_count, ctx->bin_type, ctx->stable_weight);
      }

      // 안정화 되자마자 LoRa 전송!
      float send_weight =
          (ctx->stable_weight > 0.0f) ? ctx->stable_weight : 0.0f;

      if (ctx->current_event_id[0] != '\0') {
        // 이벤트 중: 100 번째 안정화에서만 전송 (첫 번째는 충격)
        if (!ctx->event_weight_sent && ctx->stable_transition_count >= 100) {
          // [DELAYED SEND] 20초 뒤에 그 시점의 안정화 값을 보내도록 예약
          strncpy(ctx->delayed_event_id, ctx->current_event_id,
                  sizeof(ctx->delayed_event_id) - 1);
          ctx->delayed_event_id[sizeof(ctx->delayed_event_id) - 1] = '\0';

          ctx->delayed_send_timestamp = HAL_GetTick() + 20000; // 20초 후
          ctx->is_delayed_send_pending = 1;

          ctx->event_weight_sent = 1; // 중복 예약 방지
          printf(">>> [STABLE EVENT #%d] Scheduled send in 20s (current: %.2f "
                 "g, ID: %s)\r\n",
                 ctx->stable_transition_count, send_weight,
                 ctx->delayed_event_id);
        }
      } else {
        // 평상시 LIVE는 매번 전송 (안정화 시점)
        SendDataToServer(send_weight, "LIVE", ctx->bin_type);
        printf(">>> [STABLE LIVE] Sent %.2f kg\r\n", send_weight);
      }
    } else {
      // 이미 안정 상태라면 값만 업데이트 (전송은 안 함, 주기적 전송에 맡김)
      ctx->stable_weight = w_filt;
    }
  } else {
    ctx->is_stable = 0;
  }

  // 디버깅 출력
  if (ctx->is_stable) {
    printf("#%d [STABLE] %s raw=%ld, weight=%.2f, stable_weight=%.2f\r\n",
           line_index, ctx->bin_type, (long)raw, w_filt, ctx->stable_weight);
  } else {
    printf("#%d [UNSTABLE-%d/%d] %s raw=%ld, weight=%.2f\r\n", line_index,
           ctx->stable_cnt, STABLE_COUNT, ctx->bin_type, (long)raw, w_filt);
  }
  line_index++;

  // ======= LIVE 주기적 전송 =======
  // 이벤트 중일 때는 주기적 전송을 막는다 (중복 전송 방지)
  if (ctx->current_event_id[0] != '\0') {
    return;
  }

  uint32_t current_time = HAL_GetTick();
  if (current_time - ctx->last_live_send_time >= LIVE_SEND_INTERVAL_MS) {
    // 현재 값이 안정적이지 않더라도, 가장 최근의 안정된
    // 무게(stable_weight)를 전송
    float send_weight = (ctx->stable_weight > 0.0f) ? ctx->stable_weight : 0.0f;

    if (ctx->current_event_id[0] != '\0') {
      // 이 블록은 위에서 return 하므로 도달하지 않음. 방어 코드.
      if (!ctx->event_weight_sent) {
        SendDataToServer(send_weight, ctx->current_event_id, ctx->bin_type);
        ctx->event_weight_sent = 1;
      }
    } else {
      SendDataToServer(send_weight, "LIVE", ctx->bin_type);
    }
    ctx->last_live_send_time = current_time;
  }
}

int __io_putchar(int ch) {
  HAL_UART_Transmit(&huart2, (uint8_t *)&ch, 1, HAL_MAX_DELAY);
  return ch;
}

int __io_getchar(void) {
  uint8_t ch;
  HAL_UART_Receive(&huart2, &ch, 1, HAL_MAX_DELAY);
  return ch;
}

/* USER CODE END 4 */

void Error_Handler(void) {
  /* USER CODE BEGIN Error_Handler_Debug */
  /* User can add his own implementation to report the HAL error return
   * state */
  __disable_irq();
  while (1) {
  }
  /* USER CODE END Error_Handler_Debug */
}
#ifdef USE_FULL_ASSERT
/**
 * @brief  Reports the name of the source file and the source line number
 *         where the assert_param error has occurred.
 * @param  file: pointer to the source file name
 * @param  line: assert_param error line source number
 * @retval None
 */
void assert_failed(uint8_t *file, uint32_t line) {
  /* USER CODE BEGIN 6 */
  /* User can add his own implementation to report the file name and line
     number, ex: printf("Wrong parameters value: file %s on line %d\r\n",
     file, line) */
  /* USER CODE END 6 */
}
#endif /* USE_FULL_ASSERT */
